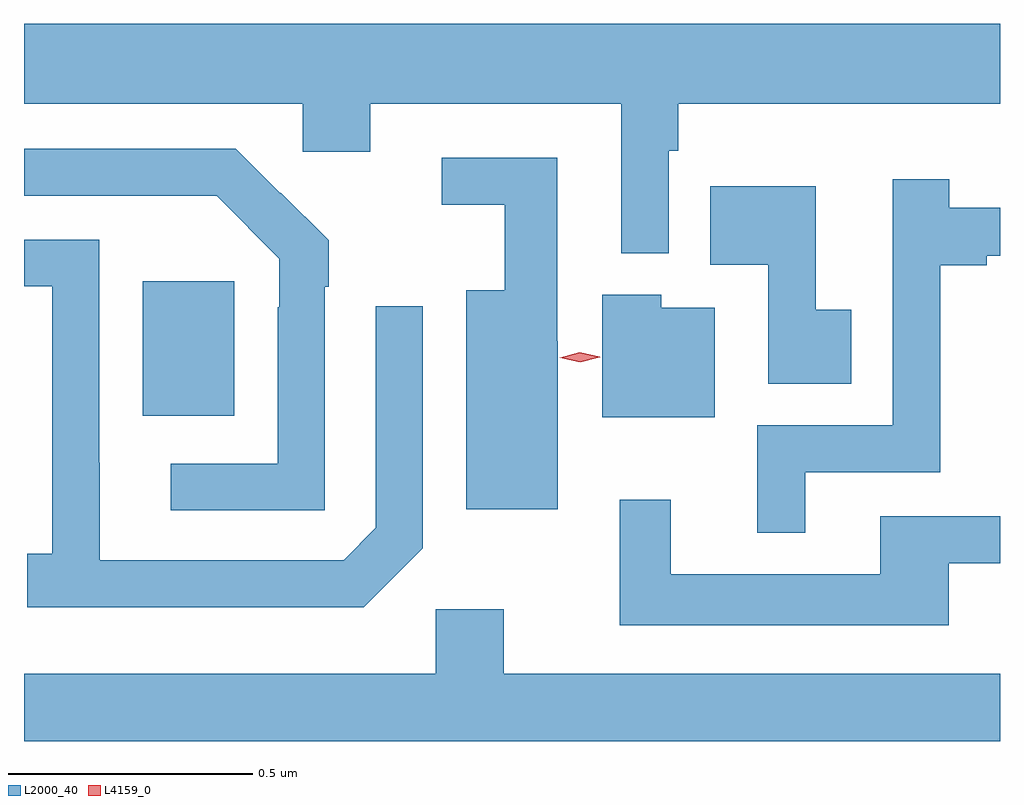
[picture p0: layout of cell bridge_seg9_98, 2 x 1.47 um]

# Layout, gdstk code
import gdstk
lib = gdstk.Library(unit=1e-6, precision=1e-09)
def R(c, l, rs):  # rectangles x0, y0, x1, y1
    for r in rs: c.add(gdstk.rectangle(r[:2], r[2:], *l))
def P(c, l, *ps):  # polygons
    for p in ps: c.add(gdstk.Polygon(p, *l))
L2000_40 = (2000, 40)
L4159_0 = (4159, 0)

bridge_seg9_98 = lib.new_cell('bridge_seg9_98')
R(bridge_seg9_98, L2000_40, [(645.935,1178.465,646.123,1178.74)])
P(bridge_seg9_98, L2000_40, [(647.013,1179.008),(647.033,1179.008),(647.033,1179.104),(647.692,1179.104),(647.692,1179.268),(645.692,1179.268),(645.692,1179.104),(646.263,1179.104),(646.263,1179.006),(646.402,1179.006),(646.402,1179.104),(646.916,1179.104),(646.916,1178.798),(647.013,1178.798)],
  [(646.308,1178.729),(646.316,1178.729),(646.316,1178.824),(646.218,1178.922),(646.217,1178.921),(646.126,1179.012),(645.692,1179.012),(645.692,1178.916),(646.087,1178.916),(646.215,1178.787),(646.215,1178.687),(646.212,1178.687),(646.212,1178.367),(645.993,1178.367),(645.993,1178.271),(646.308,1178.271)],
  [(646.786,1178.618),(646.785,1178.618),(646.785,1178.994),(646.548,1178.994),(646.548,1178.897),(646.677,1178.897),(646.677,1178.722),(646.598,1178.722),(646.598,1178.273),(646.786,1178.273)],
  [(647.293,1178.349),(647.57,1178.349),(647.57,1178.773),(647.665,1178.773),(647.665,1178.793),(647.692,1178.793),(647.692,1178.891),(647.588,1178.891),(647.588,1178.95),(647.472,1178.95),(647.472,1178.445),(647.195,1178.445),(647.195,1178.225),(647.293,1178.225)],
  [(647.387,1178.682),(647.314,1178.682),(647.314,1178.935),(647.098,1178.935),(647.098,1178.774),(647.217,1178.774),(647.217,1178.53),(647.387,1178.53)],
  [(646.509,1178.193),(646.509,1178.689),(646.413,1178.689),(646.413,1178.235),(646.347,1178.169),(645.847,1178.169),(645.847,1178.369),(645.846,1178.369),(645.846,1178.826),(645.692,1178.826),(645.692,1178.73),(645.75,1178.73),(645.75,1178.182),(645.699,1178.182),(645.699,1178.072),(646.388,1178.072)],
  [(647.107,1178.686),(646.998,1178.686),(646.998,1178.713),(646.877,1178.713),(646.877,1178.462),(647.107,1178.462)],
  [(647.587,1178.163),(647.692,1178.163),(647.692,1178.259),(647.447,1178.259),(647.447,1178.14),(647.017,1178.14),(647.017,1178.293),(646.913,1178.293),(646.913,1178.036),(647.587,1178.036)],
  [(647.692,1177.936),(646.675,1177.936),(646.675,1178.068),(646.536,1178.068),(646.536,1177.936),(645.692,1177.936),(645.692,1177.798),(647.692,1177.798)])
P(bridge_seg9_98, L4159_0, [(646.832,1178.575),(646.79,1178.584),(646.79,1178.584),(646.79,1178.584),(646.831,1178.595),(646.872,1178.586),(646.873,1178.585),(646.872,1178.585)])

lib.write_gds('bridge_seg9_98.gds')
